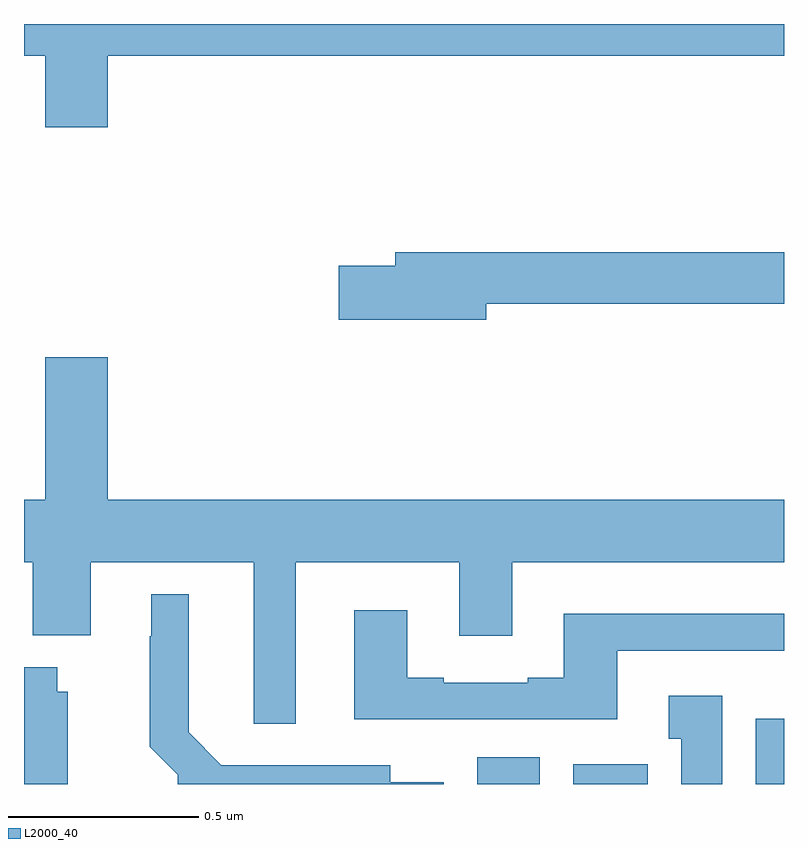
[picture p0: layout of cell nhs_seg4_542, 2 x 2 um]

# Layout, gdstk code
import gdstk
lib = gdstk.Library(unit=1e-6, precision=1e-09)
def R(c, l, rs):  # rectangles x0, y0, x1, y1
    for r in rs: c.add(gdstk.rectangle(r[:2], r[2:], *l))
def P(c, l, *ps):  # polygons
    for p in ps: c.add(gdstk.Polygon(p, *l))
L2000_40 = (2000, 40)

nhs_seg4_542 = lib.new_cell('nhs_seg4_542')
R(nhs_seg4_542, L2000_40, [(118.193,798.9,118.357,798.97), (118.445,798.9,118.642,798.952), (118.925,798.9,119,799.072)])
P(nhs_seg4_542, L2000_40, [(117.22,800.816),(119,800.816),(119,800.9),(117,800.9),(117,800.816),(117.056,800.816),(117.056,800.628),(117.22,800.628)],
  [(118.216,800.164),(119,800.164),(119,800.3),(117.977,800.3),(117.977,800.264),(117.828,800.264),(117.828,800.122),(118.216,800.122)],
  [(117.715,799.484),(118.145,799.484),(118.145,799.29),(118.285,799.29),(118.285,799.484),(119,799.484),(119,799.648),(117.22,799.648),(117.22,800.023),(117.056,800.023),(117.056,799.648),(117,799.648),(117,799.484),(117.023,799.484),(117.023,799.292),(117.175,799.292),(117.175,799.484),(117.605,799.484),(117.605,799.059),(117.715,799.059)],
  [(118.105,798.904),(117.964,798.904),(117.964,798.949),(117.519,798.949),(117.433,799.036),(117.433,799.399),(117.335,799.399),(117.335,799.289),(117.331,799.289),(117.331,798.998),(117.405,798.924),(117.405,798.9),(118.105,798.9)],
  [(118.561,799.251),(119,799.251),(119,799.348),(118.421,799.348),(118.421,799.18),(118.325,799.18),(118.325,799.167),(118.105,799.167),(118.105,799.18),(118.009,799.18),(118.009,799.357),(117.869,799.357),(117.869,799.071),(118.561,799.071)],
  [(117.115,799.143),(117.088,799.143),(117.088,799.207),(117,799.207),(117,798.9),(117.115,798.9)],
  [(118.837,799.132),(118.697,799.132),(118.697,799.019),(118.73,799.019),(118.73,798.9),(118.837,798.9)])

lib.write_gds('nhs_seg4_542.gds')
